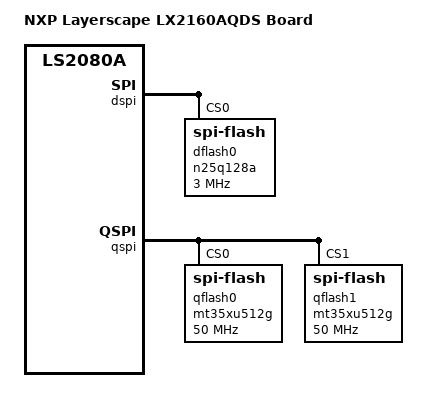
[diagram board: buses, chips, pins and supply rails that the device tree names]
/*
 * NXP LX2160 board device tree source for QSPI-boot
 *
 * Author: Santan Kumar <santan.kumar@nxp.com>
 *
 * Copyright 2017-2018 NXP
 *
 * SPDX-License-Identifier:	GPL-2.0+
 */

/dts-v1/;

#include "fsl-ls2080a.dtsi"

/ {
	model = "NXP Layerscape LX2160AQDS Board";
	compatible = "fsl,lx2160a-interposer-qds", "fsl,ls2080a";

	aliases {
		spi0 = &qspi;
		spi1 = &dspi;
	};
};

&dspi {
	bus-num = <0>;
	status = "okay";

	dflash0: n25q128a {
		#address-cells = <1>;
		#size-cells = <1>;
		compatible = "spi-flash";
		spi-max-frequency = <3000000>;
		spi-cpol;
		spi-cpha;
		reg = <0>;
	};
};

&qspi {
	bus-num = <0>;
	status = "okay";

	qflash0: mt35xu512g@0 {
		#address-cells = <1>;
		#size-cells = <1>;
		compatible = "spi-flash";
		spi-max-frequency = <50000000>;
		reg = <0>;
	};

	qflash1: mt35xu512g@1 {
		#address-cells = <1>;
		#size-cells = <1>;
		compatible = "spi-flash";
		spi-max-frequency = <50000000>;
		reg = <1>;
	};
};
